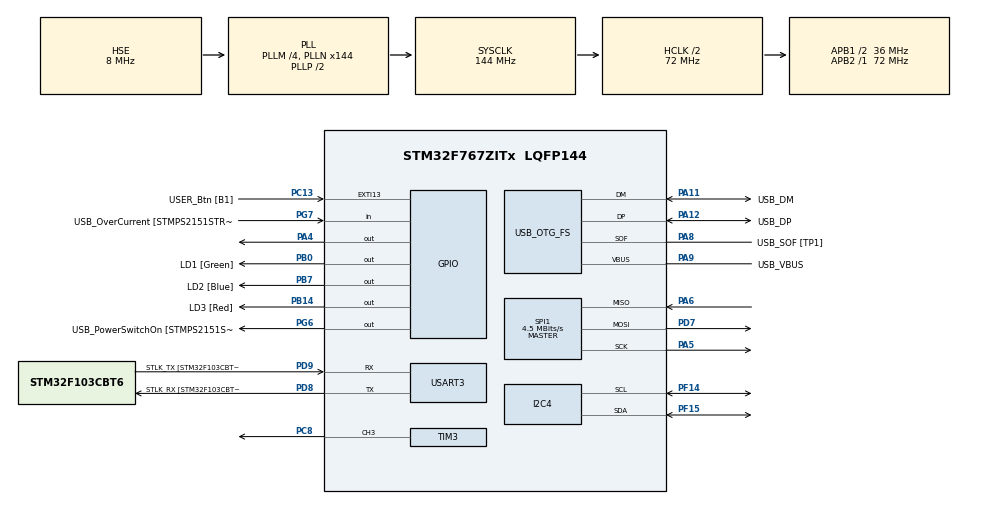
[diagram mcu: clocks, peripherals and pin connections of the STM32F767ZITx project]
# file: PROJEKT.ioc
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I2C4.Timing=0x00808CD2
Mcu.Family=STM32F7
Mcu.Name=STM32F767ZITx
Mcu.Package=LQFP144
NVIC.PriorityGroup=NVIC_PRIORITYGROUP_4
NVIC.USART3_IRQn=true\:0\:0\:false\:false\:true\:true\:true
PA1.GPIO_Label=RMII_REF_CLK [LAN8742A-CZ-TR_REFCLK0]
PA1.Signal=ETH_REF_CLK
PA10.GPIO_Label=USB_ID
PA10.Signal=USB_OTG_FS_ID
PA11.GPIO_Label=USB_DM
PA11.Mode=Device_Only
PA11.Signal=USB_OTG_FS_DM
PA12.GPIO_Label=USB_DP
PA12.Mode=Device_Only
PA12.Signal=USB_OTG_FS_DP
PA13.GPIO_Label=TMS
PA13.Mode=Serial_Wire
PA13.Signal=SYS_JTMS-SWDIO
PA14.GPIO_Label=TCK
PA14.Mode=Serial_Wire
PA14.Signal=SYS_JTCK-SWCLK
PA2.GPIO_Label=RMII_MDIO [LAN8742A-CZ-TR_MDIO]
PA2.Signal=ETH_MDIO
PA4.Signal=GPIO_Output
PA5.Mode=Full_Duplex_Master
PA5.Signal=SPI1_SCK
PA6.Mode=Full_Duplex_Master
PA6.Signal=SPI1_MISO
PA7.GPIO_Label=RMII_CRS_DV [LAN8742A-CZ-TR_CRS_DV]
PA7.Signal=ETH_CRS_DV
PA8.GPIO_Label=USB_SOF [TP1]
PA8.Mode=Activate_SOF_FS
PA8.Signal=USB_OTG_FS_SOF
PA9.GPIO_Label=USB_VBUS
PA9.Mode=Activate_VBUS
PA9.Signal=USB_OTG_FS_VBUS
PB0.GPIO_Label=LD1 [Green]
PB0.Signal=GPIO_Output
PB13.GPIO_Label=RMII_TXD1 [LAN8742A-CZ-TR_TXD1]
PB13.Signal=ETH_TXD1
PB14.GPIO_Label=LD3 [Red]
PB14.Signal=GPIO_Output
PB3.GPIO_Label=SWO
PB3.Signal=SYS_JTDO-SWO
PB7.GPIO_Label=LD2 [Blue]
PB7.Signal=GPIO_Output
PC1.GPIO_Label=RMII_MDC [LAN8742A-CZ-TR_MDC]
PC1.Signal=ETH_MDC
PC13.GPIO_Label=USER_Btn [B1]
PC13.Signal=GPXTI13
PC14/OSC32_IN.Mode=LSE-External-Oscillator
PC14/OSC32_IN.Signal=RCC_OSC32_IN
PC15/OSC32_OUT.Mode=LSE-External-Oscillator
PC15/OSC32_OUT.Signal=RCC_OSC32_OUT
PC4.GPIO_Label=RMII_RXD0 [LAN8742A-CZ-TR_RXD0]
PC4.Signal=ETH_RXD0
PC5.GPIO_Label=RMII_RXD1 [LAN8742A-CZ-TR_RXD1]
PC5.Signal=ETH_RXD1
PC8.Signal=S_TIM3_CH3
PD7.Mode=Full_Duplex_Master
PD7.Signal=SPI1_MOSI
PD8.GPIO_Label=STLK_RX [STM32F103CBT6_PA3]
PD8.Mode=Asynchronous
PD8.Signal=USART3_TX
PD9.GPIO_Label=STLK_TX [STM32F103CBT6_PA2]
PD9.Mode=Asynchronous
PD9.Signal=USART3_RX
PF14.Mode=I2C
PF14.Signal=I2C4_SCL
PF15.Mode=I2C
PF15.Signal=I2C4_SDA
PG11.GPIO_Label=RMII_TX_EN [LAN8742A-CZ-TR_TXEN]
PG11.Signal=ETH_TX_EN
PG13.GPIO_Label=RMII_TXD0 [LAN8742A-CZ-TR_TXD0]
PG13.Signal=ETH_TXD0
PG6.GPIO_Label=USB_PowerSwitchOn [STMPS2151STR_EN]
PG6.Signal=GPIO_Output
PG7.GPIO_Label=USB_OverCurrent [STMPS2151STR_FAULT]
PG7.Signal=GPIO_Input
PH0/OSC_IN.GPIO_Label=MCO [STM32F103CBT6_PA8]
PH0/OSC_IN.Mode=HSE-External-Clock-Source
PH0/OSC_IN.Signal=RCC_OSC_IN
PH1/OSC_OUT.Mode=HSE-External-Clock-Source
PH1/OSC_OUT.Signal=RCC_OSC_OUT
ProjectManager.HeapSize=0x200
ProjectManager.StackSize=0x400
ProjectManager.TargetToolchain=STM32CubeIDE
RCC.48MHZClocksFreq_Value=24000000
RCC.AHBCLKDivider=RCC_SYSCLK_DIV2
RCC.AHBFreq_Value=72000000
RCC.APB1CLKDivider=RCC_HCLK_DIV2
RCC.APB1Freq_Value=36000000
RCC.APB1TimFreq_Value=72000000
RCC.APB2Freq_Value=72000000
RCC.APB2TimFreq_Value=72000000
RCC.CortexFreq_Value=72000000
RCC.HCLKFreq_Value=72000000
RCC.HSE_VALUE=8000000
RCC.HSI_VALUE=16000000
RCC.PLLM=4
RCC.PLLMUL=RCC_PLL_MUL9
RCC.PLLN=144
RCC.PLLQ=6
RCC.PRESCALERUSB=RCC_USBCLKSOURCE_PLL_DIV1_5
RCC.SYSCLKFreq_VALUE=144000000
RCC.SYSCLKSource=RCC_SYSCLKSOURCE_PLLCLK
RCC.SYSCLKSourceVirtual=RCC_SYSCLKSOURCE_PLLCLK
RCC.USBFreq_Value=48000000
RCC.VCOOutputFreq_Value=288000000
SH.S_TIM3_CH3.0=TIM3_CH3,PWM Generation3 CH3
SPI1.BaudRatePrescaler=SPI_BAUDRATEPRESCALER_16
SPI1.CalculateBaudRate=4.5 MBits/s
SPI1.DataSize=SPI_DATASIZE_8BIT
SPI1.Direction=SPI_DIRECTION_2LINES
SPI1.Mode=SPI_MODE_MASTER
SPI1.VirtualType=VM_MASTER
TIM3.AutoReloadPreload=TIM_AUTORELOAD_PRELOAD_ENABLE
TIM3.Channel-PWM\ Generation3\ CH3=TIM_CHANNEL_3
TIM3.Period=999
TIM3.Prescaler=71
TIM3.Pulse-PWM\ Generation3\ CH3=0
USART3.VirtualMode-Asynchronous=VM_ASYNC
USB_OTG_FS.VirtualMode=Device_Only
VP_TIM3_VS_ClockSourceINT.Mode=Internal
board=NUCLEO-F767ZI

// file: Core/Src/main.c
/* USER CODE BEGIN Header */
/**
  ******************************************************************************
  * @file           : main.c
  * @brief          : Main program body
  ******************************************************************************
  * @attention
  *
  * <h2><center>&copy; Copyright (c) 2022 STMicroelectronics.
  * All rights reserved.</center></h2>
  *
  * This software component is licensed by ST under BSD 3-Clause license,
  * the "License"; You may not use this file except in compliance with the
  * License. You may obtain a copy of the License at:
  *                        opensource.org/licenses/BSD-3-Clause
  *
  ******************************************************************************
  */
/* USER CODE END Header */
#include "main.h"

/* USER CODE BEGIN Includes */
#include "BMPXX80.h"
#include "lcd_i2c.h"
#include <stdio.h>
/* USER CODE END Includes */

/* USER CODE BEGIN PTD */
typedef float float32_t;

typedef struct{
	float32_t Kp;
	float32_t Ki;
	float32_t Kd;
	float32_t dt;

}pid_parameters_t;

typedef struct{
	pid_parameters_t p;
	float32_t previous_error, previous_integral;
}pid_tt;

/* USER CODE END PTD */

I2C_HandleTypeDef hi2c4;

SPI_HandleTypeDef hspi1;

TIM_HandleTypeDef htim3;

UART_HandleTypeDef huart3;

PCD_HandleTypeDef hpcd_USB_OTG_FS;

/* USER CODE BEGIN PV */
char text;
uint8_t key[1];
int temp_zad = 26;
float temp;
float pwm_duty_f=0;
int32_t pres;
pid_tt pid1 = {.p.Kp=8, .p.Ki=0.0002, .p.Kd=0.01, .p.dt=1.0, .previous_error=0, .previous_integral=0};
uint16_t pwm_duty=0;

/* USER CODE END PV */

void SystemClock_Config(void);
static void MX_GPIO_Init(void);
static void MX_USART3_UART_Init(void);
static void MX_USB_OTG_FS_PCD_Init(void);
static void MX_SPI1_Init(void);
static void MX_TIM3_Init(void);
static void MX_I2C4_Init(void);

/* USER CODE BEGIN 0 */
float calculate_discrete_pid(pid_tt* pid, float32_t setpoint, float32_t measured){
	float32_t u=0, P, I, D, error, integral, derivative;

	error = setpoint-measured;

	//proportional part
	P = pid->p.Kp * error;

	//integral part
	integral = pid->previous_integral + (error+pid->previous_error) ;
	pid->previous_integral = integral;
	I = pid->p.Ki*integral*(pid->p.dt/2.0);

	//derivative part
	derivative = (error - pid->previous_error)/pid->p.dt;
	pid->previous_error = error;
	D = pid->p.Kd*derivative;

	//sum of all parts
	u = P  + I + D;

	return u;
}

void HAL_UARTRxCpltCallback(UART_HandleTypeDef *huart)
{
	if(huart->Instance==USART3){
		switch (key[0]) {
		  					case 'a': temp_zad = temp_zad + 1; break;
		  					case 's': temp_zad = temp_zad - 1; break;
		  	}
		HAL_UART_Receive_IT(&huart3, key,1);
}}

/* USER CODE END 0 */

int main(void)
{

  /* MCU Configuration--------------------------------------------------------*/

  /* Reset of all peripherals, Initializes the Flash interface and the Systick. */
  HAL_Init();

  /* Configure the system clock */
  SystemClock_Config();

  /* Initialize all configured peripherals */
  MX_GPIO_Init();
  MX_USART3_UART_Init();
  MX_USB_OTG_FS_PCD_Init();
  MX_SPI1_Init();
  MX_TIM3_Init();
  MX_I2C4_Init();
  /* USER CODE BEGIN 2 */

  HAL_TIM_PWM_Start(&htim3, TIM_CHANNEL_3);
  BMP280_Init(&hspi1, BMP280_TEMPERATURE_16BIT, BMP280_STANDARD, BMP280_FORCEDMODE);
  lcd_init();
  HAL_UART_Receive_IT(&huart3, key,1);

  /* USER CODE END 2 */

  /* Infinite loop */
  while (1)
  {

    /* USER CODE BEGIN 3 */
	  BMP280_ReadTemperatureAndPressure(&temp, &pres);

	  	pwm_duty_f=(1000*calculate_discrete_pid(&pid1,temp_zad,temp));

	  	if(pwm_duty_f<0)pwm_duty=0;

	  	else if(pwm_duty_f>1000)pwm_duty=1000;

	  	else pwm_duty = (uint16_t)pwm_duty_f;

	  	__HAL_TIM_SET_COMPARE(&htim3,TIM_CHANNEL_3,pwm_duty);
	  	HAL_Delay(1000);

	  	sprintf((char*)text, "%.2f, ", temp);
	  	HAL_UART_Transmit(&huart3, (uint8_t*)text, strlen(text), 1000);
	  	lcd_clear ();
	  	lcd_put_cur(0, 0);
	  	sprintf((char*)text, "Temp. %.2f C", temp);
	  	lcd_send_string(text);
	  	lcd_put_cur(1, 0);
	  	sprintf((char*)text, "Zadana %ld C", temp_zad);
	  	lcd_send_string(text);

  }
  /* USER CODE END 3 */
}

void SystemClock_Config(void)
{
  RCC_OscInitTypeDef RCC_OscInitStruct = {0};
  RCC_ClkInitTypeDef RCC_ClkInitStruct = {0};
  RCC_PeriphCLKInitTypeDef PeriphClkInitStruct = {0};

  /** Configure LSE Drive Capability
  */
  HAL_PWR_EnableBkUpAccess();
  /** Configure the main internal regulator output voltage
  */
  __HAL_RCC_PWR_CLK_ENABLE();
  __HAL_PWR_VOLTAGESCALING_CONFIG(PWR_REGULATOR_VOLTAGE_SCALE3);
  /** Initializes the RCC Oscillators according to the specified parameters
  * in the RCC_OscInitTypeDef structure.
  */
  RCC_OscInitStruct.OscillatorType = RCC_OSCILLATORTYPE_HSE;
  RCC_OscInitStruct.HSEState = RCC_HSE_BYPASS;
  RCC_OscInitStruct.PLL.PLLState = RCC_PLL_ON;
  RCC_OscInitStruct.PLL.PLLSource = RCC_PLLSOURCE_HSE;
  RCC_OscInitStruct.PLL.PLLM = 4;
  RCC_OscInitStruct.PLL.PLLN = 144;
  RCC_OscInitStruct.PLL.PLLP = RCC_PLLP_DIV2;
  RCC_OscInitStruct.PLL.PLLQ = 6;
  RCC_OscInitStruct.PLL.PLLR = 2;
  if (HAL_RCC_OscConfig(&RCC_OscInitStruct) != HAL_OK)
  {
    Error_Handler();
  }
  /** Initializes the CPU, AHB and APB buses clocks
  */
  RCC_ClkInitStruct.ClockType = RCC_CLOCKTYPE_HCLK|RCC_CLOCKTYPE_SYSCLK
                              |RCC_CLOCKTYPE_PCLK1|RCC_CLOCKTYPE_PCLK2;
  RCC_ClkInitStruct.SYSCLKSource = RCC_SYSCLKSOURCE_PLLCLK;
  RCC_ClkInitStruct.AHBCLKDivider = RCC_SYSCLK_DIV2;
  RCC_ClkInitStruct.APB1CLKDivider = RCC_HCLK_DIV2;
  RCC_ClkInitStruct.APB2CLKDivider = RCC_HCLK_DIV1;

  if (HAL_RCC_ClockConfig(&RCC_ClkInitStruct, FLASH_LATENCY_2) != HAL_OK)
  {
    Error_Handler();
  }
  PeriphClkInitStruct.PeriphClockSelection = RCC_PERIPHCLK_USART3|RCC_PERIPHCLK_I2C4
                              |RCC_PERIPHCLK_CLK48;
  PeriphClkInitStruct.Usart3ClockSelection = RCC_USART3CLKSOURCE_PCLK1;
  PeriphClkInitStruct.I2c4ClockSelection = RCC_I2C4CLKSOURCE_PCLK1;
  PeriphClkInitStruct.Clk48ClockSelection = RCC_CLK48SOURCE_PLL;
  if (HAL_RCCEx_PeriphCLKConfig(&PeriphClkInitStruct) != HAL_OK)
  {
    Error_Handler();
  }
}

static void MX_I2C4_Init(void)
{

  hi2c4.Instance = I2C4;
  hi2c4.Init.Timing = 0x00808CD2;
  hi2c4.Init.OwnAddress1 = 0;
  hi2c4.Init.AddressingMode = I2C_ADDRESSINGMODE_7BIT;
  hi2c4.Init.DualAddressMode = I2C_DUALADDRESS_DISABLE;
  hi2c4.Init.OwnAddress2 = 0;
  hi2c4.Init.OwnAddress2Masks = I2C_OA2_NOMASK;
  hi2c4.Init.GeneralCallMode = I2C_GENERALCALL_DISABLE;
  hi2c4.Init.NoStretchMode = I2C_NOSTRETCH_DISABLE;
  if (HAL_I2C_Init(&hi2c4) != HAL_OK)
  {
    Error_Handler();
  }
  /** Configure Analogue filter
  */
  if (HAL_I2CEx_ConfigAnalogFilter(&hi2c4, I2C_ANALOGFILTER_ENABLE) != HAL_OK)
  {
    Error_Handler();
  }
  /** Configure Digital filter
  */
  if (HAL_I2CEx_ConfigDigitalFilter(&hi2c4, 0) != HAL_OK)
  {
    Error_Handler();
  }

}

static void MX_SPI1_Init(void)
{

  /* SPI1 parameter configuration*/
  hspi1.Instance = SPI1;
  hspi1.Init.Mode = SPI_MODE_MASTER;
  hspi1.Init.Direction = SPI_DIRECTION_2LINES;
  hspi1.Init.DataSize = SPI_DATASIZE_8BIT;
  hspi1.Init.CLKPolarity = SPI_POLARITY_LOW;
  hspi1.Init.CLKPhase = SPI_PHASE_1EDGE;
  hspi1.Init.NSS = SPI_NSS_SOFT;
  hspi1.Init.BaudRatePrescaler = SPI_BAUDRATEPRESCALER_16;
  hspi1.Init.FirstBit = SPI_FIRSTBIT_MSB;
  hspi1.Init.TIMode = SPI_TIMODE_DISABLE;
  hspi1.Init.CRCCalculation = SPI_CRCCALCULATION_DISABLE;
  hspi1.Init.CRCPolynomial = 7;
  hspi1.Init.CRCLength = SPI_CRC_LENGTH_DATASIZE;
  hspi1.Init.NSSPMode = SPI_NSS_PULSE_ENABLE;
  if (HAL_SPI_Init(&hspi1) != HAL_OK)
  {
    Error_Handler();
  }

}

static void MX_TIM3_Init(void)
{

  TIM_ClockConfigTypeDef sClockSourceConfig = {0};
  TIM_MasterConfigTypeDef sMasterConfig = {0};
  TIM_OC_InitTypeDef sConfigOC = {0};

  htim3.Instance = TIM3;
  htim3.Init.Prescaler = 71;
  htim3.Init.CounterMode = TIM_COUNTERMODE_UP;
  htim3.Init.Period = 999;
  htim3.Init.ClockDivision = TIM_CLOCKDIVISION_DIV1;
  htim3.Init.AutoReloadPreload = TIM_AUTORELOAD_PRELOAD_ENABLE;
  if (HAL_TIM_Base_Init(&htim3) != HAL_OK)
  {
    Error_Handler();
  }
  sClockSourceConfig.ClockSource = TIM_CLOCKSOURCE_INTERNAL;
  if (HAL_TIM_ConfigClockSource(&htim3, &sClockSourceConfig) != HAL_OK)
  {
    Error_Handler();
  }
  if (HAL_TIM_PWM_Init(&htim3) != HAL_OK)
  {
    Error_Handler();
  }
  sMasterConfig.MasterOutputTrigger = TIM_TRGO_RESET;
  sMasterConfig.MasterSlaveMode = TIM_MASTERSLAVEMODE_DISABLE;
  if (HAL_TIMEx_MasterConfigSynchronization(&htim3, &sMasterConfig) != HAL_OK)
  {
    Error_Handler();
  }
  sConfigOC.OCMode = TIM_OCMODE_PWM1;
  sConfigOC.Pulse = 0;
  sConfigOC.OCPolarity = TIM_OCPOLARITY_HIGH;
  sConfigOC.OCFastMode = TIM_OCFAST_DISABLE;
  if (HAL_TIM_PWM_ConfigChannel(&htim3, &sConfigOC, TIM_CHANNEL_3) != HAL_OK)
  {
    Error_Handler();
  }
  HAL_TIM_MspPostInit(&htim3);

}

static void MX_USART3_UART_Init(void)
{

  huart3.Instance = USART3;
  huart3.Init.BaudRate = 115200;
  huart3.Init.WordLength = UART_WORDLENGTH_8B;
  huart3.Init.StopBits = UART_STOPBITS_1;
  huart3.Init.Parity = UART_PARITY_NONE;
  huart3.Init.Mode = UART_MODE_TX_RX;
  huart3.Init.HwFlowCtl = UART_HWCONTROL_NONE;
  huart3.Init.OverSampling = UART_OVERSAMPLING_16;
  huart3.Init.OneBitSampling = UART_ONE_BIT_SAMPLE_DISABLE;
  huart3.AdvancedInit.AdvFeatureInit = UART_ADVFEATURE_NO_INIT;
  if (HAL_UART_Init(&huart3) != HAL_OK)
  {
    Error_Handler();
  }

}

static void MX_USB_OTG_FS_PCD_Init(void)
{

  hpcd_USB_OTG_FS.Instance = USB_OTG_FS;
  hpcd_USB_OTG_FS.Init.dev_endpoints = 6;
  hpcd_USB_OTG_FS.Init.speed = PCD_SPEED_FULL;
  hpcd_USB_OTG_FS.Init.dma_enable = DISABLE;
  hpcd_USB_OTG_FS.Init.phy_itface = PCD_PHY_EMBEDDED;
  hpcd_USB_OTG_FS.Init.Sof_enable = ENABLE;
  hpcd_USB_OTG_FS.Init.low_power_enable = DISABLE;
  hpcd_USB_OTG_FS.Init.lpm_enable = DISABLE;
  hpcd_USB_OTG_FS.Init.vbus_sensing_enable = ENABLE;
  hpcd_USB_OTG_FS.Init.use_dedicated_ep1 = DISABLE;
  if (HAL_PCD_Init(&hpcd_USB_OTG_FS) != HAL_OK)
  {
    Error_Handler();
  }

}

static void MX_GPIO_Init(void)
{
  GPIO_InitTypeDef GPIO_InitStruct = {0};

  /* GPIO Ports Clock Enable */
  __HAL_RCC_GPIOC_CLK_ENABLE();
  __HAL_RCC_GPIOH_CLK_ENABLE();
  __HAL_RCC_GPIOA_CLK_ENABLE();
  __HAL_RCC_GPIOB_CLK_ENABLE();
  __HAL_RCC_GPIOF_CLK_ENABLE();
  __HAL_RCC_GPIOD_CLK_ENABLE();
  __HAL_RCC_GPIOG_CLK_ENABLE();

  /*Configure GPIO pin Output Level */
  HAL_GPIO_WritePin(GPIOA, GPIO_PIN_4, GPIO_PIN_RESET);

  /*Configure GPIO pin Output Level */
  HAL_GPIO_WritePin(GPIOB, LD1_Pin|LD3_Pin|LD2_Pin, GPIO_PIN_RESET);

  /*Configure GPIO pin Output Level */
  HAL_GPIO_WritePin(USB_PowerSwitchOn_GPIO_Port, USB_PowerSwitchOn_Pin, GPIO_PIN_RESET);

  /*Configure GPIO pin : USER_Btn_Pin */
  GPIO_InitStruct.Pin = USER_Btn_Pin;
  GPIO_InitStruct.Mode = GPIO_MODE_IT_RISING;
  GPIO_InitStruct.Pull = GPIO_NOPULL;
  HAL_GPIO_Init(USER_Btn_GPIO_Port, &GPIO_InitStruct);

  /*Configure GPIO pins : RMII_MDC_Pin RMII_RXD0_Pin RMII_RXD1_Pin */
  GPIO_InitStruct.Pin = RMII_MDC_Pin|RMII_RXD0_Pin|RMII_RXD1_Pin;
  GPIO_InitStruct.Mode = GPIO_MODE_AF_PP;
  GPIO_InitStruct.Pull = GPIO_NOPULL;
  GPIO_InitStruct.Speed = GPIO_SPEED_FREQ_VERY_HIGH;
  GPIO_InitStruct.Alternate = GPIO_AF11_ETH;
  HAL_GPIO_Init(GPIOC, &GPIO_InitStruct);

  /*Configure GPIO pins : RMII_REF_CLK_Pin RMII_MDIO_Pin RMII_CRS_DV_Pin */
  GPIO_InitStruct.Pin = RMII_REF_CLK_Pin|RMII_MDIO_Pin|RMII_CRS_DV_Pin;
  GPIO_InitStruct.Mode = GPIO_MODE_AF_PP;
  GPIO_InitStruct.Pull = GPIO_NOPULL;
  GPIO_InitStruct.Speed = GPIO_SPEED_FREQ_VERY_HIGH;
  GPIO_InitStruct.Alternate = GPIO_AF11_ETH;
  HAL_GPIO_Init(GPIOA, &GPIO_InitStruct);

  /*Configure GPIO pin : PA4 */
  GPIO_InitStruct.Pin = GPIO_PIN_4;
  GPIO_InitStruct.Mode = GPIO_MODE_OUTPUT_PP;
  GPIO_InitStruct.Pull = GPIO_NOPULL;
  GPIO_InitStruct.Speed = GPIO_SPEED_FREQ_LOW;
  HAL_GPIO_Init(GPIOA, &GPIO_InitStruct);

  /*Configure GPIO pins : LD1_Pin LD3_Pin LD2_Pin */
  GPIO_InitStruct.Pin = LD1_Pin|LD3_Pin|LD2_Pin;
  GPIO_InitStruct.Mode = GPIO_MODE_OUTPUT_PP;
  GPIO_InitStruct.Pull = GPIO_NOPULL;
  GPIO_InitStruct.Speed = GPIO_SPEED_FREQ_LOW;
  HAL_GPIO_Init(GPIOB, &GPIO_InitStruct);

  /*Configure GPIO pin : RMII_TXD1_Pin */
  GPIO_InitStruct.Pin = RMII_TXD1_Pin;
  GPIO_InitStruct.Mode = GPIO_MODE_AF_PP;
  GPIO_InitStruct.Pull = GPIO_NOPULL;
  GPIO_InitStruct.Speed = GPIO_SPEED_FREQ_VERY_HIGH;
  GPIO_InitStruct.Alternate = GPIO_AF11_ETH;
  HAL_GPIO_Init(RMII_TXD1_GPIO_Port, &GPIO_InitStruct);

  /*Configure GPIO pin : USB_PowerSwitchOn_Pin */
  GPIO_InitStruct.Pin = USB_PowerSwitchOn_Pin;
  GPIO_InitStruct.Mode = GPIO_MODE_OUTPUT_PP;
  GPIO_InitStruct.Pull = GPIO_NOPULL;
  GPIO_InitStruct.Speed = GPIO_SPEED_FREQ_LOW;
  HAL_GPIO_Init(USB_PowerSwitchOn_GPIO_Port, &GPIO_InitStruct);

  /*Configure GPIO pin : USB_OverCurrent_Pin */
  GPIO_InitStruct.Pin = USB_OverCurrent_Pin;
  GPIO_InitStruct.Mode = GPIO_MODE_INPUT;
  GPIO_InitStruct.Pull = GPIO_NOPULL;
  HAL_GPIO_Init(USB_OverCurrent_GPIO_Port, &GPIO_InitStruct);

  /*Configure GPIO pins : RMII_TX_EN_Pin RMII_TXD0_Pin */
  GPIO_InitStruct.Pin = RMII_TX_EN_Pin|RMII_TXD0_Pin;
  GPIO_InitStruct.Mode = GPIO_MODE_AF_PP;
  GPIO_InitStruct.Pull = GPIO_NOPULL;
  GPIO_InitStruct.Speed = GPIO_SPEED_FREQ_VERY_HIGH;
  GPIO_InitStruct.Alternate = GPIO_AF11_ETH;
  HAL_GPIO_Init(GPIOG, &GPIO_InitStruct);

}

void Error_Handler(void)
{
  __disable_irq();
  while (1)
  {
  }
}

/************************ (C) COPYRIGHT STMicroelectronics *****END OF FILE****/
